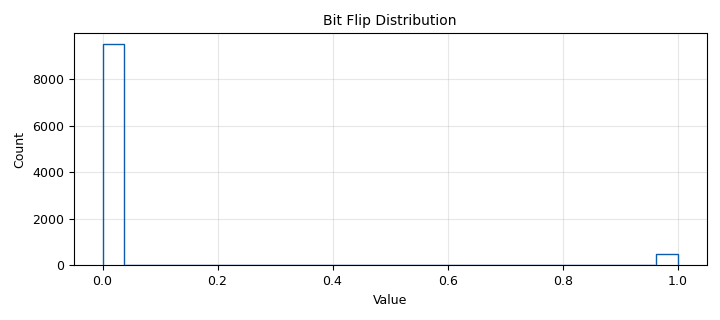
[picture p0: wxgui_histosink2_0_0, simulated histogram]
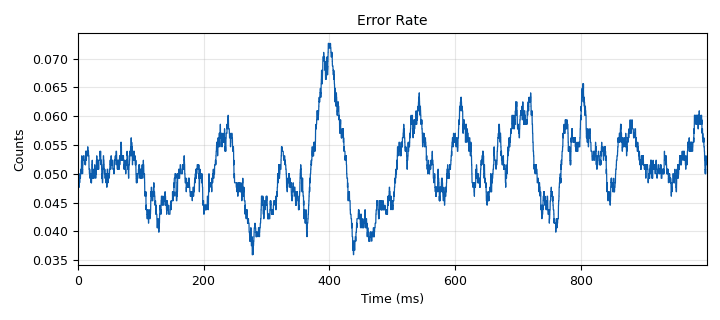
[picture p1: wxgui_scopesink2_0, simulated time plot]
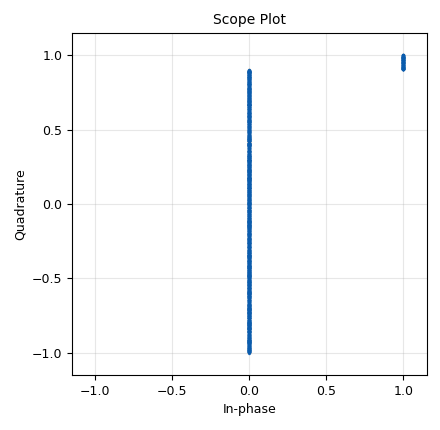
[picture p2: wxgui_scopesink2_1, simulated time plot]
<?xml version='1.0' encoding='utf-8'?>
<?grc format='1' created='3.7.9'?>
<flow_graph>
<block>
<key>options</key>
<param><key>id</key><value>top_block</value></param>
<param><key>category</key><value>Custom</value></param>
<param><key>generate_options</key><value>wx_gui</value></param>
</block>
<block>
<key>variable</key>
<param><key>id</key><value>idx</value></param>
<param><key>_enabled</key><value>0</value></param>
<param><key>value</key><value>0</value></param>
</block>
<block>
<key>variable_chooser</key>
<param><key>id</key><value>idx</value></param>
<param><key>choices</key><value>[0,1]</value></param>
<param><key>value</key><value>0</value></param>
<param><key>_enabled</key><value>0</value></param>
<param><key>label</key><value></value></param>
<param><key>labels</key><value>[]</value></param>
<param><key>style</key><value>wx.RA_HORIZONTAL</value></param>
<param><key>type</key><value>radio_buttons</value></param>
</block>
<block>
<key>variable</key>
<param><key>id</key><value>samp_rate</value></param>
<param><key>value</key><value>32000</value></param>
</block>
<block>
<key>variable_slider</key>
<param><key>id</key><value>thresh</value></param>
<param><key>converver</key><value>float_converter</value></param>
<param><key>value</key><value>.9</value></param>
<param><key>label</key><value>Thresh</value></param>
<param><key>max</key><value>1</value></param>
<param><key>min</key><value>0</value></param>
<param><key>num_steps</key><value>100</value></param>
<param><key>style</key><value>wx.SL_HORIZONTAL</value></param>
</block>
<block>
<key>analog_const_source_x</key>
<param><key>id</key><value>analog_const_source_x_0</value></param>
<param><key>const</key><value>thresh</value></param>
<param><key>type</key><value>float</value></param>
</block>
<block>
<key>analog_noise_source_x</key>
<param><key>id</key><value>analog_noise_source_x_0</value></param>
<param><key>amp</key><value>1</value></param>
<param><key>noise_type</key><value>analog.GR_UNIFORM</value></param>
<param><key>type</key><value>float</value></param>
<param><key>seed</key><value>42</value></param>
</block>
<block>
<key>blks2_error_rate</key>
<param><key>id</key><value>blks2_error_rate_0</value></param>
<param><key>bits_per_symbol</key><value>1</value></param>
<param><key>type</key><value>'BER'</value></param>
<param><key>win_size</key><value>1280</value></param>
</block>
<block>
<key>blks2_selector</key>
<param><key>id</key><value>blks2_selector_0</value></param>
<param><key>_enabled</key><value>0</value></param>
<param><key>input_index</key><value>idx</value></param>
<param><key>num_inputs</key><value>2</value></param>
<param><key>num_outputs</key><value>1</value></param>
<param><key>output_index</key><value>0</value></param>
<param><key>type</key><value>byte</value></param>
<param><key>vlen</key><value>1</value></param>
</block>
<block>
<key>blocks_float_to_char</key>
<param><key>id</key><value>blocks_float_to_char_0</value></param>
<param><key>scale</key><value>1</value></param>
</block>
<block>
<key>blocks_float_to_short</key>
<param><key>id</key><value>blocks_float_to_short_0</value></param>
<param><key>_enabled</key><value>0</value></param>
<param><key>scale</key><value>1</value></param>
</block>
<block>
<key>blocks_not_xx</key>
<param><key>id</key><value>blocks_not_xx_0</value></param>
<param><key>_enabled</key><value>0</value></param>
<param><key>type</key><value>byte</value></param>
</block>
<block>
<key>blocks_short_to_float</key>
<param><key>id</key><value>blocks_short_to_float_0</value></param>
<param><key>_enabled</key><value>0</value></param>
<param><key>scale</key><value>1</value></param>
</block>
<block>
<key>blocks_threshold_ff</key>
<param><key>id</key><value>blocks_threshold_ff_0</value></param>
<param><key>high</key><value>thresh</value></param>
<param><key>init</key><value>0</value></param>
<param><key>low</key><value>thresh</value></param>
</block>
<block>
<key>blocks_throttle</key>
<param><key>id</key><value>blocks_throttle_0</value></param>
<param><key>samples_per_second</key><value>samp_rate</value></param>
<param><key>type</key><value>byte</value></param>
</block>
<block>
<key>blocks_throttle</key>
<param><key>id</key><value>blocks_throttle_1</value></param>
<param><key>samples_per_second</key><value>samp_rate</value></param>
<param><key>type</key><value>float</value></param>
</block>
<block>
<key>blocks_throttle</key>
<param><key>id</key><value>blocks_throttle_1_0</value></param>
<param><key>samples_per_second</key><value>samp_rate</value></param>
<param><key>type</key><value>float</value></param>
</block>
<block>
<key>blocks_xor_xx</key>
<param><key>id</key><value>blocks_xor_xx_0</value></param>
<param><key>type</key><value>byte</value></param>
</block>
<block>
<key>digital_glfsr_source_x</key>
<param><key>id</key><value>digital_glfsr_source_x_0</value></param>
<param><key>degree</key><value>6</value></param>
<param><key>mask</key><value>0</value></param>
<param><key>repeat</key><value>True</value></param>
<param><key>seed</key><value>1</value></param>
<param><key>type</key><value>byte</value></param>
</block>
<block>
<key>notebook</key>
<param><key>id</key><value>nb</value></param>
<param><key>labels</key><value>['Flips', 'Histo', 'Error']</value></param>
<param><key>style</key><value>wx.NB_TOP</value></param>
</block>
<block>
<key>wxgui_histosink2</key>
<param><key>id</key><value>wxgui_histosink2_0</value></param>
<param><key>_enabled</key><value>0</value></param>
<param><key>frame_size</key><value>1000</value></param>
<param><key>num_bins</key><value>27</value></param>
<param><key>title</key><value>Histogram Plot</value></param>
</block>
<block>
<key>wxgui_histosink2</key>
<param><key>id</key><value>wxgui_histosink2_0_0</value></param>
<param><key>frame_size</key><value>10000</value></param>
<param><key>notebook</key><value>nb, 1</value></param>
<param><key>num_bins</key><value>27</value></param>
<param><key>title</key><value>Bit Flip Distribution</value></param>
<param><key>win_size</key><value>640,240</value></param>
</block>
<block>
<key>wxgui_numbersink2</key>
<param><key>id</key><value>wxgui_numbersink2_0</value></param>
<param><key>avg_alpha</key><value>0</value></param>
<param><key>average</key><value>False</value></param>
<param><key>decimal_places</key><value>6</value></param>
<param><key>factor</key><value>1.0</value></param>
<param><key>max_value</key><value>1</value></param>
<param><key>min_value</key><value>0</value></param>
<param><key>number_rate</key><value>15</value></param>
<param><key>peak_hold</key><value>True</value></param>
<param><key>ref_level</key><value>0</value></param>
<param><key>samp_rate</key><value>samp_rate</value></param>
<param><key>show_gauge</key><value>True</value></param>
<param><key>title</key><value>Error Rate</value></param>
<param><key>type</key><value>float</value></param>
<param><key>units</key><value>Units</value></param>
</block>
<block>
<key>wxgui_scopesink2</key>
<param><key>id</key><value>wxgui_scopesink2_0</value></param>
<param><key>ac_couple</key><value>False</value></param>
<param><key>notebook</key><value>nb, 2</value></param>
<param><key>num_inputs</key><value>1</value></param>
<param><key>samp_rate</key><value>samp_rate</value></param>
<param><key>t_scale</key><value>.1</value></param>
<param><key>title</key><value>Error Rate</value></param>
<param><key>trig_mode</key><value>wxgui.TRIG_MODE_AUTO</value></param>
<param><key>type</key><value>float</value></param>
<param><key>v_offset</key><value>0</value></param>
<param><key>v_scale</key><value>.2</value></param>
<param><key>xy_mode</key><value>False</value></param>
<param><key>y_axis_label</key><value>Counts</value></param>
</block>
<block>
<key>wxgui_scopesink2</key>
<param><key>id</key><value>wxgui_scopesink2_1</value></param>
<param><key>ac_couple</key><value>False</value></param>
<param><key>notebook</key><value>nb, 0</value></param>
<param><key>num_inputs</key><value>3</value></param>
<param><key>samp_rate</key><value>samp_rate</value></param>
<param><key>t_scale</key><value>0</value></param>
<param><key>title</key><value>Scope Plot</value></param>
<param><key>trig_mode</key><value>wxgui.TRIG_MODE_AUTO</value></param>
<param><key>type</key><value>float</value></param>
<param><key>v_offset</key><value>0</value></param>
<param><key>v_scale</key><value>.5</value></param>
<param><key>xy_mode</key><value>True</value></param>
<param><key>y_axis_label</key><value>Counts</value></param>
</block>
<connection><source_block_id>analog_const_source_x_0</source_block_id><sink_block_id>blocks_throttle_1_0</sink_block_id><source_key>0</source_key><sink_key>0</sink_key></connection>
<connection><source_block_id>analog_noise_source_x_0</source_block_id><sink_block_id>blocks_throttle_1</sink_block_id><source_key>0</source_key><sink_key>0</sink_key></connection>
<connection><source_block_id>blks2_error_rate_0</source_block_id><sink_block_id>wxgui_numbersink2_0</sink_block_id><source_key>0</source_key><sink_key>0</sink_key></connection>
<connection><source_block_id>blks2_error_rate_0</source_block_id><sink_block_id>wxgui_scopesink2_0</sink_block_id><source_key>0</source_key><sink_key>0</sink_key></connection>
<connection><source_block_id>blks2_selector_0</source_block_id><sink_block_id>blks2_error_rate_0</sink_block_id><source_key>0</source_key><sink_key>1</sink_key></connection>
<connection><source_block_id>blocks_float_to_char_0</source_block_id><sink_block_id>blocks_xor_xx_0</sink_block_id><source_key>0</source_key><sink_key>1</sink_key></connection>
<connection><source_block_id>blocks_float_to_short_0</source_block_id><sink_block_id>blocks_short_to_float_0</sink_block_id><source_key>0</source_key><sink_key>0</sink_key></connection>
<connection><source_block_id>blocks_not_xx_0</source_block_id><sink_block_id>blks2_selector_0</sink_block_id><source_key>0</source_key><sink_key>1</sink_key></connection>
<connection><source_block_id>blocks_short_to_float_0</source_block_id><sink_block_id>wxgui_histosink2_0</sink_block_id><source_key>0</source_key><sink_key>0</sink_key></connection>
<connection><source_block_id>blocks_threshold_ff_0</source_block_id><sink_block_id>blocks_float_to_char_0</sink_block_id><source_key>0</source_key><sink_key>0</sink_key></connection>
<connection><source_block_id>blocks_threshold_ff_0</source_block_id><sink_block_id>blocks_float_to_short_0</sink_block_id><source_key>0</source_key><sink_key>0</sink_key></connection>
<connection><source_block_id>blocks_threshold_ff_0</source_block_id><sink_block_id>wxgui_histosink2_0_0</sink_block_id><source_key>0</source_key><sink_key>0</sink_key></connection>
<connection><source_block_id>blocks_threshold_ff_0</source_block_id><sink_block_id>wxgui_scopesink2_1</sink_block_id><source_key>0</source_key><sink_key>0</sink_key></connection>
<connection><source_block_id>blocks_throttle_0</source_block_id><sink_block_id>blks2_error_rate_0</sink_block_id><source_key>0</source_key><sink_key>0</sink_key></connection>
<connection><source_block_id>blocks_throttle_0</source_block_id><sink_block_id>blks2_selector_0</sink_block_id><source_key>0</source_key><sink_key>0</sink_key></connection>
<connection><source_block_id>blocks_throttle_0</source_block_id><sink_block_id>blocks_not_xx_0</sink_block_id><source_key>0</source_key><sink_key>0</sink_key></connection>
<connection><source_block_id>blocks_throttle_0</source_block_id><sink_block_id>blocks_xor_xx_0</sink_block_id><source_key>0</source_key><sink_key>0</sink_key></connection>
<connection><source_block_id>blocks_throttle_1</source_block_id><sink_block_id>blocks_threshold_ff_0</sink_block_id><source_key>0</source_key><sink_key>0</sink_key></connection>
<connection><source_block_id>blocks_throttle_1</source_block_id><sink_block_id>wxgui_scopesink2_1</sink_block_id><source_key>0</source_key><sink_key>1</sink_key></connection>
<connection><source_block_id>blocks_throttle_1_0</source_block_id><sink_block_id>wxgui_scopesink2_1</sink_block_id><source_key>0</source_key><sink_key>2</sink_key></connection>
<connection><source_block_id>blocks_xor_xx_0</source_block_id><sink_block_id>blks2_error_rate_0</sink_block_id><source_key>0</source_key><sink_key>1</sink_key></connection>
<connection><source_block_id>digital_glfsr_source_x_0</source_block_id><sink_block_id>blocks_throttle_0</sink_block_id><source_key>0</source_key><sink_key>0</sink_key></connection>
</flow_graph>
